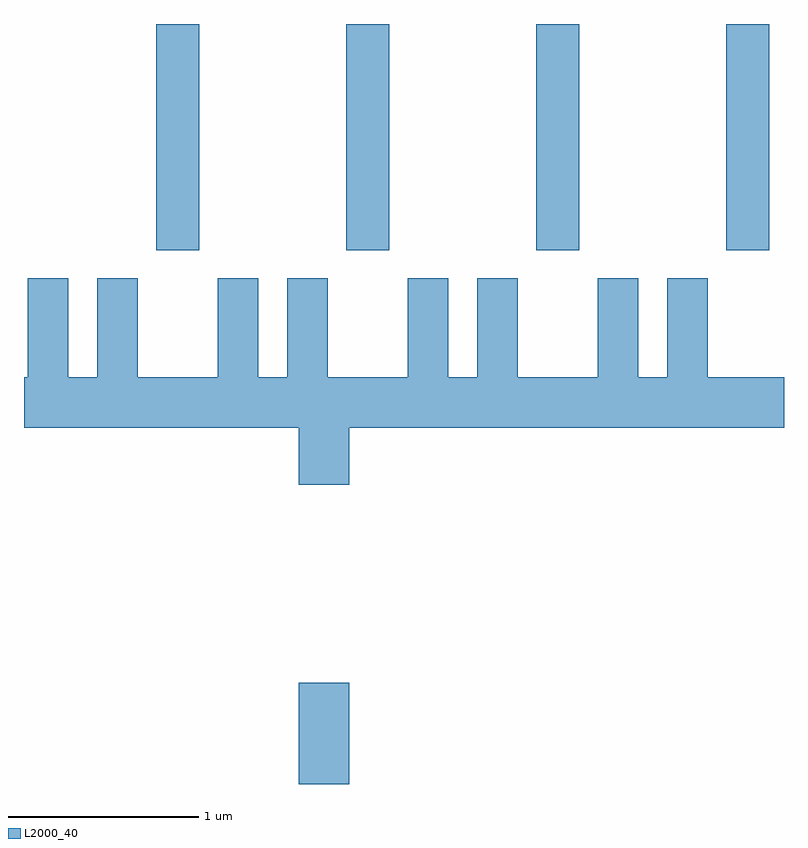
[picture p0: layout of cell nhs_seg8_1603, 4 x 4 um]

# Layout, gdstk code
import gdstk
lib = gdstk.Library(unit=1e-6, precision=1e-09)
def R(c, l, rs):  # rectangles x0, y0, x1, y1
    for r in rs: c.add(gdstk.rectangle(r[:2], r[2:], *l))
def A(c, l, x, y, w, h, nx, ny, dx, dy):  # array of equal rectangles
    R(c, l, [(x+i*dx, y+j*dy, x+i*dx+w, y+j*dy+h) for i in range(nx) for j in range(ny)])
def P(c, l, *ps):  # polygons
    for p in ps: c.add(gdstk.Polygon(p, *l))
L2000_40 = (2000, 40)

nhs_seg8_1603 = lib.new_cell('nhs_seg8_1603')
A(nhs_seg8_1603, L2000_40, 234.306, 1815.151, 0.228, 1.191, 4, 1, 1, 0)
R(nhs_seg8_1603, L2000_40, [(235.056,1812.342,235.324,1812.874)])
P(nhs_seg8_1603, L2000_40, [(235.324,1814.216),(237.611,1814.216),(237.611,1814.484),(237.209,1814.484),(237.209,1815.004),(236.996,1815.004),(236.996,1814.484),(236.844,1814.484),(236.844,1815.004),(236.631,1815.004),(236.631,1814.484),(236.209,1814.484),(236.209,1815.004),(235.996,1815.004),(235.996,1814.484),(235.844,1814.484),(235.844,1815.004),(235.631,1815.004),(235.631,1814.484),(235.209,1814.484),(235.209,1815.004),(234.996,1815.004),(234.996,1814.484),(234.844,1814.484),(234.844,1815.004),(234.631,1815.004),(234.631,1814.484),(234.209,1814.484),(234.209,1815.004),(233.996,1815.004),(233.996,1814.484),(233.844,1814.484),(233.844,1815.004),(233.631,1815.004),(233.631,1814.484),(233.611,1814.484),(233.611,1814.216),(235.056,1814.216),(235.056,1813.916),(235.324,1813.916)])

lib.write_gds('nhs_seg8_1603.gds')
